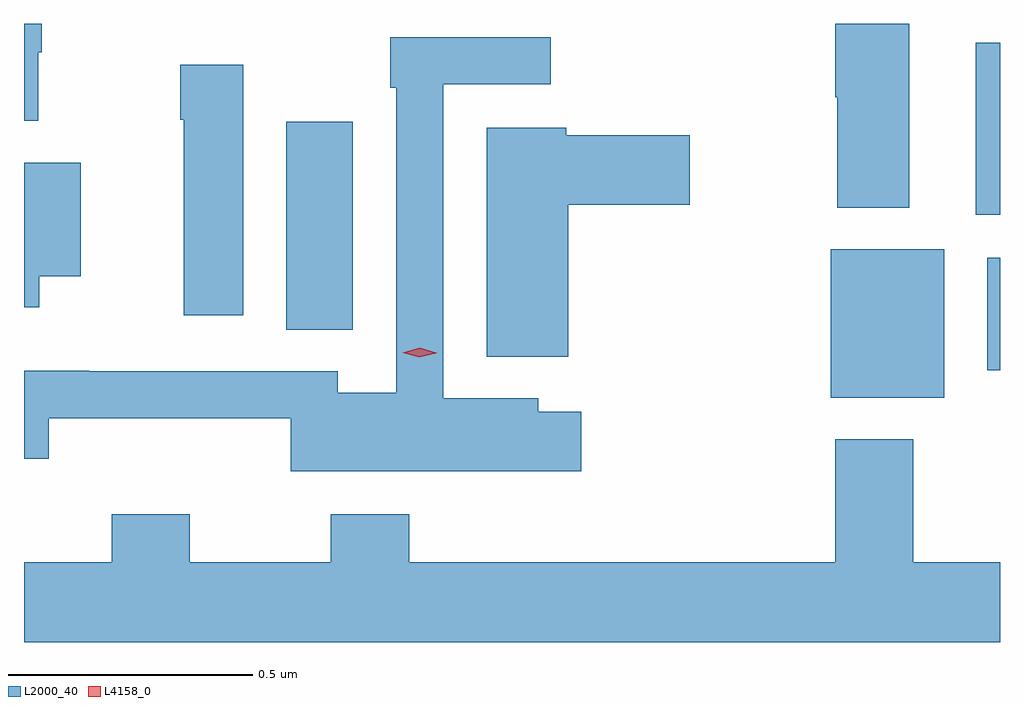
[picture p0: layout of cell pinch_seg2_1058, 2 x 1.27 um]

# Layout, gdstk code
import gdstk
lib = gdstk.Library(unit=1e-6, precision=1e-09)
def R(c, l, rs):  # rectangles x0, y0, x1, y1
    for r in rs: c.add(gdstk.rectangle(r[:2], r[2:], *l))
def P(c, l, *ps):  # polygons
    for p in ps: c.add(gdstk.Polygon(p, *l))
L2000_40 = (2000, 40)
L4158_0 = (4158, 0)

pinch_seg2_1058 = lib.new_cell('pinch_seg2_1058')
R(pinch_seg2_1058, L2000_40, [(327.194,609.509,327.427,609.814), (327.515,609.566,327.541,609.796), (326.078,609.649,326.215,610.075), (327.491,609.884,327.541,610.237)])
P(pinch_seg2_1058, L2000_40, [(325.57,610.217),(325.577,610.217),(325.577,610.276),(325.541,610.276),(325.541,610.077),(325.57,610.077)],
  [(327.355,610.276),(327.203,610.276),(327.203,610.125),(327.208,610.125),(327.208,609.899),(327.355,609.899)],
  [(326.683,609.481),(326.595,609.481),(326.595,609.508),(326.4,609.508),(326.4,610.152),(326.62,610.152),(326.62,610.248),(326.292,610.248),(326.292,610.145),(326.304,610.145),(326.304,609.52),(326.184,609.52),(326.184,609.564),(325.675,609.564),(325.675,609.565),(325.541,609.565),(325.541,609.384),(325.592,609.384),(325.592,609.467),(326.088,609.467),(326.088,609.359),(326.683,609.359)],
  [(325.99,610.192),(325.861,610.192),(325.861,610.079),(325.868,610.079),(325.868,609.678),(325.99,609.678)],
  [(326.656,609.905),(326.905,609.905),(326.905,610.047),(326.652,610.047),(326.652,610.063),(326.489,610.063),(326.489,609.593),(326.656,609.593)],
  [(325.572,609.758),(325.657,609.758),(325.657,609.991),(325.541,609.991),(325.541,609.695),(325.572,609.695)],
  [(327.541,609.172),(327.363,609.172),(327.363,609.424),(327.203,609.424),(327.203,609.172),(326.33,609.172),(326.33,609.271),(326.17,609.271),(326.17,609.172),(325.881,609.172),(325.881,609.271),(325.721,609.271),(325.721,609.172),(325.541,609.172),(325.541,609.008),(327.541,609.008)])
P(pinch_seg2_1058, L4158_0, [(326.351,609.592),(326.317,609.602),(326.316,609.602),(326.317,609.602),(326.352,609.612),(326.386,609.602),(326.387,609.602),(326.386,609.601)])

lib.write_gds('pinch_seg2_1058.gds')
